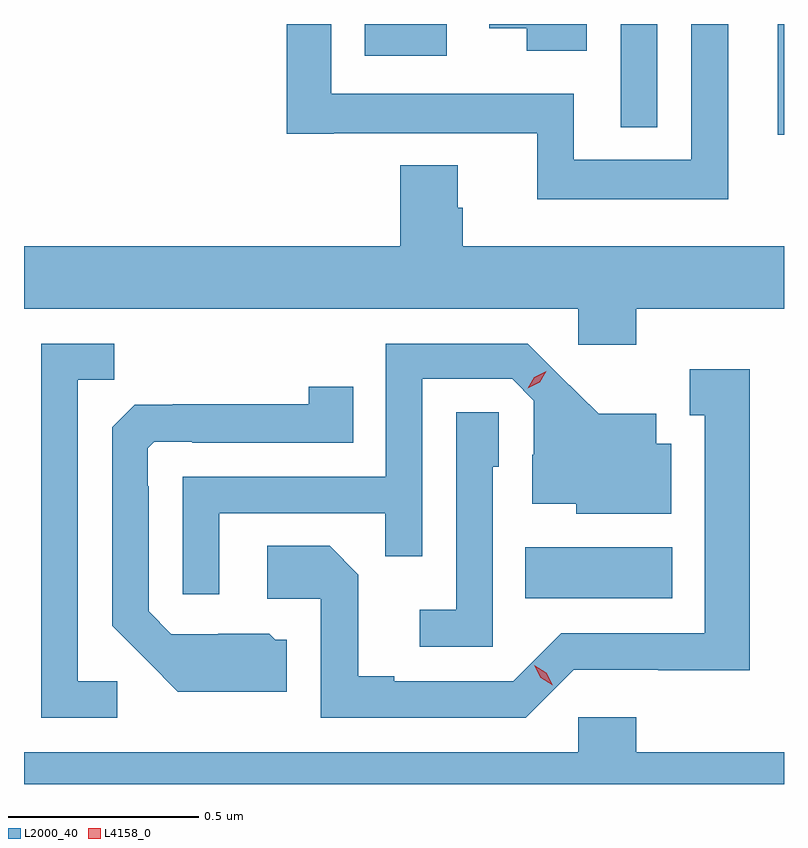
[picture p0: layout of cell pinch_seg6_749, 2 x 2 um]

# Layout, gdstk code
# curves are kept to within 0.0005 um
import gdstk
lib = gdstk.Library(unit=1e-6, precision=1e-09)
def R(c, l, rs):  # rectangles x0, y0, x1, y1
    for r in rs: c.add(gdstk.rectangle(r[:2], r[2:], *l))
def P(c, l, *ps):  # polygons
    for p in ps: c.add(gdstk.Polygon(p, *l))
L2000_40 = (2000, 40)
L4158_0 = (4158, 0)

pinch_seg6_749 = lib.new_cell('pinch_seg6_749')
R(pinch_seg6_749, L2000_40, [(629.098,937.25,629.485,937.384), (629.762,938.47,629.779,938.761), (629.349,938.489,629.445,938.761), (628.676,938.678,628.891,938.761)])
P(pinch_seg6_749, L2000_40, [(629.26,938.761),(629.003,938.761),(629.003,938.75),(629.102,938.75),(629.102,938.691),(629.26,938.691)],
  [(629.632,938.761),(629.535,938.761),(629.535,938.404),(629.226,938.404),(629.226,938.578),(628.587,938.578),(628.587,938.761),(628.471,938.761),(628.471,938.472),(628.594,938.472),(628.594,938.474),(629.129,938.474),(629.129,938.3),(629.632,938.3)],
  [(629.39,938.012),(629.779,938.012),(629.779,938.176),(628.934,938.176),(628.934,938.277),(628.921,938.277),(628.921,938.389),(628.769,938.389),(628.769,938.176),(627.779,938.176),(627.779,938.012),(629.238,938.012),(629.238,937.917),(629.39,937.917)],
  [(628.293,937.473),(628.729,937.473),(628.729,937.36),(628.827,937.36),(628.827,937.827),(629.064,937.827),(629.121,937.77),(629.121,937.628),(629.117,937.628),(629.117,937.499),(629.232,937.499),(629.232,937.472),(629.482,937.472),(629.482,937.657),(629.443,937.657),(629.443,937.735),(629.291,937.735),(629.104,937.92),(628.731,937.92),(628.731,937.569),(628.197,937.569),(628.197,937.26),(628.293,937.26)],
  [(628.024,937.032),(627.921,937.032),(627.921,937.825),(628.017,937.825),(628.017,937.92),(627.825,937.92),(627.825,936.936),(628.024,936.936)],
  [(629.226,937.062),(629.448,937.062),(629.448,937.061),(629.689,937.061),(629.689,937.852),(629.531,937.852),(629.531,937.731),(629.57,937.731),(629.57,937.158),(629.193,937.158),(629.067,937.032),(628.753,937.032),(628.753,937.045),(628.659,937.045),(628.659,937.312),(628.583,937.388),(628.419,937.388),(628.419,937.248),(628.56,937.248),(628.56,936.936),(629.1,936.936)],
  [(628.471,937.14),(628.44,937.14),(628.424,937.156),(628.29,937.156),(628.29,937.155),(628.167,937.155),(628.107,937.215),(628.107,937.544),(628.104,937.544),(628.104,937.644),(628.122,937.662),(628.222,937.662),(628.222,937.659),(628.646,937.659),(628.646,937.807),(628.528,937.807),(628.528,937.76),(628.171,937.76),(628.171,937.759),(628.07,937.759),(628.011,937.7),(628.011,937.178),(628.183,937.004),(628.471,937.004)],
  [(629.013,937.596),(629.028,937.596),(629.028,937.739),(628.917,937.739),(628.917,937.219),(628.821,937.219),(628.821,937.122),(629.013,937.122)],
  [(629.779,936.844),(629.39,936.844),(629.39,936.937),(629.238,936.937),(629.238,936.844),(627.779,936.844),(627.779,936.761),(629.779,936.761)])
P(pinch_seg6_749, L4158_0, [(629.104,937.802),(629.104,937.803),(629.122,937.832),(629.153,937.847),(629.153,937.847),(629.153,937.847),(629.136,937.818),(629.105,937.802)],
  [(629.17,937.021),(629.139,937.04),(629.122,937.073),(629.122,937.073),(629.122,937.073),(629.153,937.054),(629.17,937.021),(629.17,937.021)])

lib.write_gds('pinch_seg6_749.gds')
